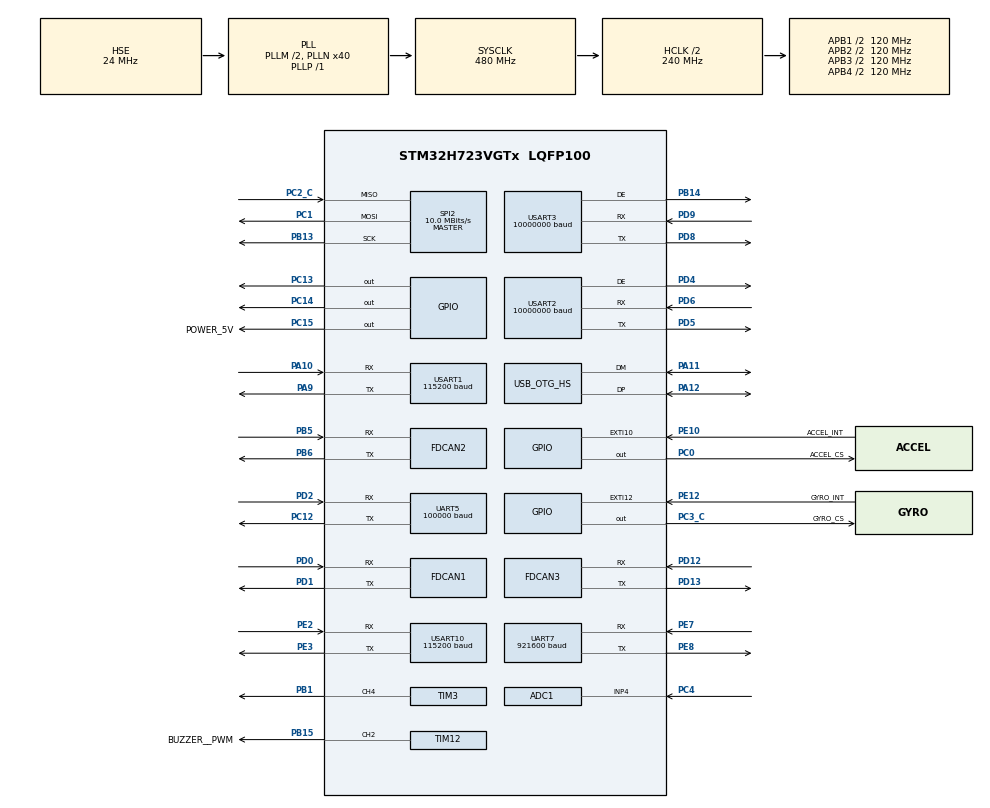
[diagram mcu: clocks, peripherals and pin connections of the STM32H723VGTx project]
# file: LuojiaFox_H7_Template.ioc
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ADC1.Channel-2\#ChannelRegularConversion=ADC_CHANNEL_4
ADC1.Channel-3\#ChannelRegularConversion=ADC_CHANNEL_4
ADC1.ClockPrescaler=ADC_CLOCK_ASYNC_DIV64
ADC1.ClockPrescalerADC3=ADC_CLOCK_SYNC_PCLK_DIV4
ADC1.ContinuousConvMode=ENABLE
ADC1.ConversionDataManagement=ADC_CONVERSIONDATA_DMA_CIRCULAR
ADC1.NbrOfConversion=2
ADC1.NbrOfConversionFlag=1
ADC1.OffsetNumber-2\#ChannelRegularConversion=ADC_OFFSET_NONE
ADC1.OffsetNumber-3\#ChannelRegularConversion=ADC_OFFSET_NONE
ADC1.OffsetSignedSaturation-2\#ChannelRegularConversion=DISABLE
ADC1.OffsetSignedSaturation-3\#ChannelRegularConversion=DISABLE
ADC1.Rank-2\#ChannelRegularConversion=1
ADC1.Rank-3\#ChannelRegularConversion=2
ADC1.SamplingTime-2\#ChannelRegularConversion=ADC_SAMPLETIME_32CYCLES_5
ADC1.SamplingTime-3\#ChannelRegularConversion=ADC_SAMPLETIME_1CYCLE_5
ADC1.master=1
ADC3.Channel-0\#ChannelRegularConversion=ADC_CHANNEL_TEMPSENSOR
ADC3.ClockPrescalerADC3=ADC_CLOCK_SYNC_PCLK_DIV4
ADC3.DiscontinuousConvMode=ENABLE
ADC3.NbrOfConversionFlag=1
ADC3.OffsetNumber-0\#ChannelRegularConversion=ADC_OFFSET_NONE
ADC3.OffsetSign-0\#ChannelRegularConversion=ADC3_OFFSET_SIGN_NEGATIVE
ADC3.Rank-0\#ChannelRegularConversion=1
ADC3.SamplingTime-0\#ChannelRegularConversion=ADC3_SAMPLETIME_2CYCLES_5
Bdma.ADC3.0.Direction=DMA_PERIPH_TO_MEMORY
Bdma.ADC3.0.EventEnable=DISABLE
Bdma.ADC3.0.Instance=BDMA_Channel0
Bdma.ADC3.0.MemDataAlignment=DMA_MDATAALIGN_HALFWORD
Bdma.ADC3.0.MemInc=DMA_MINC_ENABLE
Bdma.ADC3.0.Mode=DMA_CIRCULAR
Bdma.ADC3.0.PeriphDataAlignment=DMA_PDATAALIGN_HALFWORD
Bdma.ADC3.0.PeriphInc=DMA_PINC_DISABLE
Bdma.ADC3.0.Polarity=HAL_DMAMUX_REQ_GEN_RISING
Bdma.ADC3.0.Priority=DMA_PRIORITY_LOW
Bdma.ADC3.0.RequestNumber=1
Bdma.ADC3.0.SignalID=NONE
Bdma.ADC3.0.SyncEnable=DISABLE
Bdma.ADC3.0.SyncPolarity=HAL_DMAMUX_SYNC_NO_EVENT
Bdma.ADC3.0.SyncRequestNumber=1
Bdma.ADC3.0.SyncSignalID=NONE
Bdma.Request0=ADC3
Bdma.RequestsNb=1
CORTEX_M7.AccessPermission-Cortex_Memory_Protection_Unit_Region0_Settings=MPU_REGION_FULL_ACCESS
CORTEX_M7.AccessPermission_Spec=MPU_REGION_FULL_ACCESS
CORTEX_M7.BaseAddress-Cortex_Memory_Protection_Unit_Region0_Settings=0x24000000
CORTEX_M7.BaseAddress_Spec=0x24000000
CORTEX_M7.CPU_DCache=Enabled
CORTEX_M7.CPU_ICache=Enabled
CORTEX_M7.DisableExec_Spec=MPU_INSTRUCTION_ACCESS_ENABLE
CORTEX_M7.Enable-Cortex_Memory_Protection_Unit_Region0_Settings=MPU_REGION_ENABLE
CORTEX_M7.IsBufferable_Spec=MPU_ACCESS_NOT_BUFFERABLE
CORTEX_M7.IsCacheable_Spec=MPU_ACCESS_NOT_CACHEABLE
CORTEX_M7.IsShareable_Spec=MPU_ACCESS_NOT_SHAREABLE
CORTEX_M7.MPU_Control=MPU_HFNMI_PRIVDEF
CORTEX_M7.Size-Cortex_Memory_Protection_Unit_Region0_Settings=MPU_REGION_SIZE_512KB
CORTEX_M7.Size_Spec=MPU_REGION_SIZE_512KB
CORTEX_M7.SubRegionDisable_Spec=0x0
CORTEX_M7.TypeExtField-Cortex_Memory_Protection_Unit_Region0_Settings=MPU_TEX_LEVEL1
CORTEX_M7.TypeExtField_Spec=MPU_TEX_LEVEL1
CORTEX_M7.default_mode_Activation=1
Dma.ADC1.14.Direction=DMA_PERIPH_TO_MEMORY
Dma.ADC1.14.EventEnable=DISABLE
Dma.ADC1.14.FIFOMode=DMA_FIFOMODE_DISABLE
Dma.ADC1.14.Instance=DMA2_Stream6
Dma.ADC1.14.MemDataAlignment=DMA_MDATAALIGN_HALFWORD
Dma.ADC1.14.MemInc=DMA_MINC_ENABLE
Dma.ADC1.14.Mode=DMA_CIRCULAR
Dma.ADC1.14.PeriphDataAlignment=DMA_PDATAALIGN_HALFWORD
Dma.ADC1.14.PeriphInc=DMA_PINC_DISABLE
Dma.ADC1.14.Polarity=HAL_DMAMUX_REQ_GEN_RISING
Dma.ADC1.14.Priority=DMA_PRIORITY_LOW
Dma.ADC1.14.RequestNumber=1
Dma.ADC1.14.SignalID=NONE
Dma.ADC1.14.SyncEnable=DISABLE
Dma.ADC1.14.SyncPolarity=HAL_DMAMUX_SYNC_NO_EVENT
Dma.ADC1.14.SyncRequestNumber=1
Dma.ADC1.14.SyncSignalID=NONE
Dma.MEMTOMEM.11.Direction=DMA_MEMORY_TO_MEMORY
Dma.MEMTOMEM.11.EventEnable=DISABLE
Dma.MEMTOMEM.11.FIFOMode=DMA_FIFOMODE_ENABLE
Dma.MEMTOMEM.11.FIFOThreshold=DMA_FIFO_THRESHOLD_FULL
Dma.MEMTOMEM.11.Instance=DMA1_Stream0
Dma.MEMTOMEM.11.MemBurst=DMA_MBURST_SINGLE
Dma.MEMTOMEM.11.MemDataAlignment=DMA_MDATAALIGN_BYTE
Dma.MEMTOMEM.11.MemInc=DMA_MINC_ENABLE
Dma.MEMTOMEM.11.Mode=DMA_NORMAL
Dma.MEMTOMEM.11.PeriphBurst=DMA_PBURST_SINGLE
Dma.MEMTOMEM.11.PeriphDataAlignment=DMA_PDATAALIGN_BYTE
Dma.MEMTOMEM.11.PeriphInc=DMA_PINC_ENABLE
Dma.MEMTOMEM.11.Polarity=HAL_DMAMUX_REQ_GEN_RISING
Dma.MEMTOMEM.11.Priority=DMA_PRIORITY_LOW
Dma.MEMTOMEM.11.RequestNumber=1
Dma.MEMTOMEM.11.SignalID=NONE
Dma.MEMTOMEM.11.SyncEnable=DISABLE
Dma.MEMTOMEM.11.SyncPolarity=HAL_DMAMUX_SYNC_NO_EVENT
Dma.MEMTOMEM.11.SyncRequestNumber=1
Dma.MEMTOMEM.11.SyncSignalID=NONE
Dma.Request0=UART5_RX
Dma.Request1=SPI2_RX
Dma.Request10=USART3_TX
Dma.Request11=MEMTOMEM
Dma.Request12=USART10_RX
Dma.Request13=USART10_TX
Dma.Request14=ADC1
Dma.Request2=SPI2_TX
Dma.Request3=UART7_RX
Dma.Request4=UART7_TX
Dma.Request5=USART1_RX
Dma.Request6=USART1_TX
Dma.Request7=USART2_RX
Dma.Request8=USART2_TX
Dma.Request9=USART3_RX
Dma.SPI2_RX.1.Direction=DMA_PERIPH_TO_MEMORY
Dma.SPI2_RX.1.EventEnable=DISABLE
Dma.SPI2_RX.1.FIFOMode=DMA_FIFOMODE_DISABLE
Dma.SPI2_RX.1.Instance=DMA1_Stream1
Dma.SPI2_RX.1.MemDataAlignment=DMA_MDATAALIGN_BYTE
Dma.SPI2_RX.1.MemInc=DMA_MINC_ENABLE
Dma.SPI2_RX.1.Mode=DMA_NORMAL
Dma.SPI2_RX.1.PeriphDataAlignment=DMA_PDATAALIGN_BYTE
Dma.SPI2_RX.1.PeriphInc=DMA_PINC_DISABLE
Dma.SPI2_RX.1.Polarity=HAL_DMAMUX_REQ_GEN_RISING
Dma.SPI2_RX.1.Priority=DMA_PRIORITY_VERY_HIGH
Dma.SPI2_RX.1.RequestNumber=1
Dma.SPI2_RX.1.SignalID=NONE
Dma.SPI2_RX.1.SyncEnable=DISABLE
Dma.SPI2_RX.1.SyncPolarity=HAL_DMAMUX_SYNC_NO_EVENT
Dma.SPI2_RX.1.SyncRequestNumber=1
Dma.SPI2_RX.1.SyncSignalID=NONE
Dma.SPI2_TX.2.Direction=DMA_MEMORY_TO_PERIPH
Dma.SPI2_TX.2.EventEnable=DISABLE
Dma.SPI2_TX.2.FIFOMode=DMA_FIFOMODE_DISABLE
Dma.SPI2_TX.2.Instance=DMA1_Stream2
Dma.SPI2_TX.2.MemDataAlignment=DMA_MDATAALIGN_BYTE
Dma.SPI2_TX.2.MemInc=DMA_MINC_ENABLE
Dma.SPI2_TX.2.Mode=DMA_NORMAL
Dma.SPI2_TX.2.PeriphDataAlignment=DMA_PDATAALIGN_BYTE
Dma.SPI2_TX.2.PeriphInc=DMA_PINC_DISABLE
Dma.SPI2_TX.2.Polarity=HAL_DMAMUX_REQ_GEN_RISING
Dma.SPI2_TX.2.Priority=DMA_PRIORITY_MEDIUM
Dma.SPI2_TX.2.RequestNumber=1
Dma.SPI2_TX.2.SignalID=NONE
Dma.SPI2_TX.2.SyncEnable=DISABLE
Dma.SPI2_TX.2.SyncPolarity=HAL_DMAMUX_SYNC_NO_EVENT
Dma.SPI2_TX.2.SyncRequestNumber=1
Dma.SPI2_TX.2.SyncSignalID=NONE
Dma.UART5_RX.0.Direction=DMA_PERIPH_TO_MEMORY
Dma.UART5_RX.0.EventEnable=DISABLE
Dma.UART5_RX.0.FIFOMode=DMA_FIFOMODE_DISABLE
Dma.UART5_RX.0.Instance=DMA2_Stream3
Dma.UART5_RX.0.MemDataAlignment=DMA_MDATAALIGN_BYTE
Dma.UART5_RX.0.MemInc=DMA_MINC_ENABLE
Dma.UART5_RX.0.Mode=DMA_CIRCULAR
Dma.UART5_RX.0.PeriphDataAlignment=DMA_PDATAALIGN_BYTE
Dma.UART5_RX.0.PeriphInc=DMA_PINC_DISABLE
Dma.UART5_RX.0.Polarity=HAL_DMAMUX_REQ_GEN_RISING
Dma.UART5_RX.0.Priority=DMA_PRIORITY_VERY_HIGH
Dma.UART5_RX.0.RequestNumber=1
Dma.UART5_RX.0.SignalID=NONE
Dma.UART5_RX.0.SyncEnable=DISABLE
Dma.UART5_RX.0.SyncPolarity=HAL_DMAMUX_SYNC_NO_EVENT
Dma.UART5_RX.0.SyncRequestNumber=1
Dma.UART5_RX.0.SyncSignalID=NONE
Dma.UART7_RX.3.Direction=DMA_PERIPH_TO_MEMORY
Dma.UART7_RX.3.EventEnable=DISABLE
Dma.UART7_RX.3.FIFOMode=DMA_FIFOMODE_DISABLE
Dma.UART7_RX.3.Instance=DMA1_Stream3
Dma.UART7_RX.3.MemDataAlignment=DMA_MDATAALIGN_BYTE
Dma.UART7_RX.3.MemInc=DMA_MINC_ENABLE
Dma.UART7_RX.3.Mode=DMA_CIRCULAR
Dma.UART7_RX.3.PeriphDataAlignment=DMA_PDATAALIGN_BYTE
Dma.UART7_RX.3.PeriphInc=DMA_PINC_DISABLE
Dma.UART7_RX.3.Polarity=HAL_DMAMUX_REQ_GEN_RISING
Dma.UART7_RX.3.Priority=DMA_PRIORITY_LOW
Dma.UART7_RX.3.RequestNumber=1
Dma.UART7_RX.3.SignalID=NONE
Dma.UART7_RX.3.SyncEnable=DISABLE
Dma.UART7_RX.3.SyncPolarity=HAL_DMAMUX_SYNC_NO_EVENT
Dma.UART7_RX.3.SyncRequestNumber=1
Dma.UART7_RX.3.SyncSignalID=NONE
Dma.UART7_TX.4.Direction=DMA_MEMORY_TO_PERIPH
Dma.UART7_TX.4.EventEnable=DISABLE
Dma.UART7_TX.4.FIFOMode=DMA_FIFOMODE_DISABLE
Dma.UART7_TX.4.Instance=DMA1_Stream4
Dma.UART7_TX.4.MemDataAlignment=DMA_MDATAALIGN_BYTE
Dma.UART7_TX.4.MemInc=DMA_MINC_ENABLE
Dma.UART7_TX.4.Mode=DMA_NORMAL
Dma.UART7_TX.4.PeriphDataAlignment=DMA_PDATAALIGN_BYTE
Dma.UART7_TX.4.PeriphInc=DMA_PINC_DISABLE
Dma.UART7_TX.4.Polarity=HAL_DMAMUX_REQ_GEN_RISING
Dma.UART7_TX.4.Priority=DMA_PRIORITY_LOW
Dma.UART7_TX.4.RequestNumber=1
Dma.UART7_TX.4.SignalID=NONE
Dma.UART7_TX.4.SyncEnable=DISABLE
Dma.UART7_TX.4.SyncPolarity=HAL_DMAMUX_SYNC_NO_EVENT
Dma.UART7_TX.4.SyncRequestNumber=1
Dma.UART7_TX.4.SyncSignalID=NONE
Dma.USART10_RX.12.Direction=DMA_PERIPH_TO_MEMORY
Dma.USART10_RX.12.EventEnable=DISABLE
Dma.USART10_RX.12.FIFOMode=DMA_FIFOMODE_DISABLE
Dma.USART10_RX.12.Instance=DMA2_Stream4
Dma.USART10_RX.12.MemDataAlignment=DMA_MDATAALIGN_BYTE
Dma.USART10_RX.12.MemInc=DMA_MINC_ENABLE
Dma.USART10_RX.12.Mode=DMA_CIRCULAR
Dma.USART10_RX.12.PeriphDataAlignment=DMA_PDATAALIGN_BYTE
Dma.USART10_RX.12.PeriphInc=DMA_PINC_DISABLE
Dma.USART10_RX.12.Polarity=HAL_DMAMUX_REQ_GEN_RISING
Dma.USART10_RX.12.Priority=DMA_PRIORITY_VERY_HIGH
Dma.USART10_RX.12.RequestNumber=1
Dma.USART10_RX.12.SignalID=NONE
Dma.USART10_RX.12.SyncEnable=DISABLE
Dma.USART10_RX.12.SyncPolarity=HAL_DMAMUX_SYNC_NO_EVENT
Dma.USART10_RX.12.SyncRequestNumber=1
Dma.USART10_RX.12.SyncSignalID=NONE
Dma.USART10_TX.13.Direction=DMA_MEMORY_TO_PERIPH
Dma.USART10_TX.13.EventEnable=DISABLE
Dma.USART10_TX.13.FIFOMode=DMA_FIFOMODE_DISABLE
Dma.USART10_TX.13.Instance=DMA2_Stream5
Dma.USART10_TX.13.MemDataAlignment=DMA_MDATAALIGN_BYTE
Dma.USART10_TX.13.MemInc=DMA_MINC_ENABLE
Dma.USART10_TX.13.Mode=DMA_NORMAL
Dma.USART10_TX.13.PeriphDataAlignment=DMA_PDATAALIGN_BYTE
Dma.USART10_TX.13.PeriphInc=DMA_PINC_DISABLE
Dma.USART10_TX.13.Polarity=HAL_DMAMUX_REQ_GEN_RISING
Dma.USART10_TX.13.Priority=DMA_PRIORITY_VERY_HIGH
Dma.USART10_TX.13.RequestNumber=1
Dma.USART10_TX.13.SignalID=NONE
Dma.USART10_TX.13.SyncEnable=DISABLE
Dma.USART10_TX.13.SyncPolarity=HAL_DMAMUX_SYNC_NO_EVENT
Dma.USART10_TX.13.SyncRequestNumber=1
Dma.USART10_TX.13.SyncSignalID=NONE
Dma.USART1_RX.5.Direction=DMA_PERIPH_TO_MEMORY
Dma.USART1_RX.5.EventEnable=DISABLE
Dma.USART1_RX.5.FIFOMode=DMA_FIFOMODE_DISABLE
Dma.USART1_RX.5.Instance=DMA1_Stream5
Dma.USART1_RX.5.MemDataAlignment=DMA_MDATAALIGN_BYTE
Dma.USART1_RX.5.MemInc=DMA_MINC_ENABLE
Dma.USART1_RX.5.Mode=DMA_NORMAL
Dma.USART1_RX.5.PeriphDataAlignment=DMA_PDATAALIGN_BYTE
Dma.USART1_RX.5.PeriphInc=DMA_PINC_DISABLE
Dma.USART1_RX.5.Polarity=HAL_DMAMUX_REQ_GEN_RISING
Dma.USART1_RX.5.Priority=DMA_PRIORITY_VERY_HIGH
Dma.USART1_RX.5.RequestNumber=1
Dma.USART1_RX.5.SignalID=NONE
Dma.USART1_RX.5.SyncEnable=DISABLE
Dma.USART1_RX.5.SyncPolarity=HAL_DMAMUX_SYNC_NO_EVENT
Dma.USART1_RX.5.SyncRequestNumber=1
Dma.USART1_RX.5.SyncSignalID=NONE
Dma.USART1_TX.6.Direction=DMA_MEMORY_TO_PERIPH
Dma.USART1_TX.6.EventEnable=DISABLE
Dma.USART1_TX.6.FIFOMode=DMA_FIFOMODE_DISABLE
Dma.USART1_TX.6.Instance=DMA1_Stream6
Dma.USART1_TX.6.MemDataAlignment=DMA_MDATAALIGN_BYTE
Dma.USART1_TX.6.MemInc=DMA_MINC_ENABLE
Dma.USART1_TX.6.Mode=DMA_NORMAL
Dma.USART1_TX.6.PeriphDataAlignment=DMA_PDATAALIGN_BYTE
Dma.USART1_TX.6.PeriphInc=DMA_PINC_DISABLE
Dma.USART1_TX.6.Polarity=HAL_DMAMUX_REQ_GEN_RISING
Dma.USART1_TX.6.Priority=DMA_PRIORITY_VERY_HIGH
Dma.USART1_TX.6.RequestNumber=1
Dma.USART1_TX.6.SignalID=NONE
Dma.USART1_TX.6.SyncEnable=DISABLE
Dma.USART1_TX.6.SyncPolarity=HAL_DMAMUX_SYNC_NO_EVENT
Dma.USART1_TX.6.SyncRequestNumber=1
Dma.USART1_TX.6.SyncSignalID=NONE
Dma.USART2_RX.7.Direction=DMA_PERIPH_TO_MEMORY
Dma.USART2_RX.7.EventEnable=DISABLE
Dma.USART2_RX.7.FIFOMode=DMA_FIFOMODE_DISABLE
Dma.USART2_RX.7.Instance=DMA1_Stream7
Dma.USART2_RX.7.MemDataAlignment=DMA_MDATAALIGN_BYTE
Dma.USART2_RX.7.MemInc=DMA_MINC_ENABLE
Dma.USART2_RX.7.Mode=DMA_CIRCULAR
Dma.USART2_RX.7.PeriphDataAlignment=DMA_PDATAALIGN_BYTE
Dma.USART2_RX.7.PeriphInc=DMA_PINC_DISABLE
Dma.USART2_RX.7.Polarity=HAL_DMAMUX_REQ_GEN_RISING
Dma.USART2_RX.7.Priority=DMA_PRIORITY_MEDIUM
Dma.USART2_RX.7.RequestNumber=1
Dma.USART2_RX.7.SignalID=NONE
Dma.USART2_RX.7.SyncEnable=DISABLE
Dma.USART2_RX.7.SyncPolarity=HAL_DMAMUX_SYNC_NO_EVENT
Dma.USART2_RX.7.SyncRequestNumber=1
Dma.USART2_RX.7.SyncSignalID=NONE
Dma.USART2_TX.8.Direction=DMA_MEMORY_TO_PERIPH
Dma.USART2_TX.8.EventEnable=DISABLE
Dma.USART2_TX.8.FIFOMode=DMA_FIFOMODE_DISABLE
Dma.USART2_TX.8.Instance=DMA2_Stream0
Dma.USART2_TX.8.MemDataAlignment=DMA_MDATAALIGN_BYTE
Dma.USART2_TX.8.MemInc=DMA_MINC_ENABLE
Dma.USART2_TX.8.Mode=DMA_NORMAL
Dma.USART2_TX.8.PeriphDataAlignment=DMA_PDATAALIGN_BYTE
Dma.USART2_TX.8.PeriphInc=DMA_PINC_DISABLE
Dma.USART2_TX.8.Polarity=HAL_DMAMUX_REQ_GEN_RISING
Dma.USART2_TX.8.Priority=DMA_PRIORITY_MEDIUM
Dma.USART2_TX.8.RequestNumber=1
Dma.USART2_TX.8.SignalID=NONE
Dma.USART2_TX.8.SyncEnable=DISABLE
Dma.USART2_TX.8.SyncPolarity=HAL_DMAMUX_SYNC_NO_EVENT
Dma.USART2_TX.8.SyncRequestNumber=1
Dma.USART2_TX.8.SyncSignalID=NONE
Dma.USART3_RX.9.Direction=DMA_PERIPH_TO_MEMORY
Dma.USART3_RX.9.EventEnable=DISABLE
Dma.USART3_RX.9.FIFOMode=DMA_FIFOMODE_DISABLE
Dma.USART3_RX.9.Instance=DMA2_Stream1
Dma.USART3_RX.9.MemDataAlignment=DMA_MDATAALIGN_BYTE
Dma.USART3_RX.9.MemInc=DMA_MINC_ENABLE
Dma.USART3_RX.9.Mode=DMA_CIRCULAR
Dma.USART3_RX.9.PeriphDataAlignment=DMA_PDATAALIGN_BYTE
Dma.USART3_RX.9.PeriphInc=DMA_PINC_DISABLE
Dma.USART3_RX.9.Polarity=HAL_DMAMUX_REQ_GEN_RISING
Dma.USART3_RX.9.Priority=DMA_PRIORITY_MEDIUM
Dma.USART3_RX.9.RequestNumber=1
Dma.USART3_RX.9.SignalID=NONE
Dma.USART3_RX.9.SyncEnable=DISABLE
Dma.USART3_RX.9.SyncPolarity=HAL_DMAMUX_SYNC_NO_EVENT
Dma.USART3_RX.9.SyncRequestNumber=1
Dma.USART3_RX.9.SyncSignalID=NONE
Dma.USART3_TX.10.Direction=DMA_MEMORY_TO_PERIPH
Dma.USART3_TX.10.EventEnable=DISABLE
Dma.USART3_TX.10.FIFOMode=DMA_FIFOMODE_DISABLE
Dma.USART3_TX.10.Instance=DMA2_Stream2
Dma.USART3_TX.10.MemDataAlignment=DMA_MDATAALIGN_BYTE
Dma.USART3_TX.10.MemInc=DMA_MINC_ENABLE
Dma.USART3_TX.10.Mode=DMA_NORMAL
Dma.USART3_TX.10.PeriphDataAlignment=DMA_PDATAALIGN_BYTE
Dma.USART3_TX.10.PeriphInc=DMA_PINC_DISABLE
Dma.USART3_TX.10.Polarity=HAL_DMAMUX_REQ_GEN_RISING
Dma.USART3_TX.10.Priority=DMA_PRIORITY_MEDIUM
Dma.USART3_TX.10.RequestNumber=1
Dma.USART3_TX.10.SignalID=NONE
Dma.USART3_TX.10.SyncEnable=DISABLE
Dma.USART3_TX.10.SyncPolarity=HAL_DMAMUX_SYNC_NO_EVENT
Dma.USART3_TX.10.SyncRequestNumber=1
Dma.USART3_TX.10.SyncSignalID=NONE
FDCAN1.AutoRetransmission=DISABLE
FDCAN1.CalculateBaudRateNominal=1000000
FDCAN1.CalculateTimeBitNominal=1000
FDCAN1.CalculateTimeQuantumNominal=50.0
FDCAN1.ClockCalibrationCCU=DISABLE
FDCAN1.DataPrescaler=5
FDCAN1.DataSyncJumpWidth=5
FDCAN1.DataTimeSeg1=14
FDCAN1.DataTimeSeg2=5
FDCAN1.ExtFiltersNbr=0
FDCAN1.FrameFormat=FDCAN_FRAME_CLASSIC
FDCAN1.NominalPrescaler=5
FDCAN1.NominalSyncJumpWidth=5
FDCAN1.NominalTimeSeg1=14
FDCAN1.NominalTimeSeg2=5
FDCAN1.ProtocolException=ENABLE
FDCAN1.RxBufferSize=FDCAN_DATA_BYTES_8
FDCAN1.RxFifo0ElmtSize=FDCAN_DATA_BYTES_8
FDCAN1.RxFifo0ElmtsNbr=4
FDCAN1.RxFifo1ElmtSize=FDCAN_DATA_BYTES_8
FDCAN1.StdFiltersNbr=1
FDCAN1.TransmitPause=DISABLE
FDCAN1.TxElmtSize=FDCAN_DATA_BYTES_8
FDCAN1.TxFifoQueueElmtsNbr=4
FDCAN1.TxFifoQueueMode=FDCAN_TX_FIFO_OPERATION
FDCAN2.CalculateBaudRateNominal=1000000
FDCAN2.CalculateTimeBitNominal=1000
FDCAN2.CalculateTimeQuantumNominal=50.0
FDCAN2.DataPrescaler=5
FDCAN2.DataSyncJumpWidth=5
FDCAN2.DataTimeSeg1=14
FDCAN2.DataTimeSeg2=5
FDCAN2.FrameFormat=FDCAN_FRAME_CLASSIC
FDCAN2.MessageRAMOffset=853
FDCAN2.NominalPrescaler=5
FDCAN2.NominalSyncJumpWidth=5
FDCAN2.NominalTimeSeg1=14
FDCAN2.NominalTimeSeg2=5
FDCAN2.ProtocolException=ENABLE
FDCAN2.RxFifo0ElmtsNbr=4
FDCAN2.RxFifo1ElmtsNbr=8
FDCAN2.StdFiltersNbr=1
FDCAN2.TxFifoQueueElmtsNbr=4
FDCAN3.CalculateBaudRateNominal=1000000
FDCAN3.CalculateTimeBitNominal=1000
FDCAN3.CalculateTimeQuantumNominal=50.0
FDCAN3.DataPrescaler=1
FDCAN3.DataSyncJumpWidth=5
FDCAN3.DataTimeSeg1=14
FDCAN3.DataTimeSeg2=5
FDCAN3.FrameFormat=FDCAN_FRAME_FD_BRS
FDCAN3.MessageRAMOffset=1706
FDCAN3.NominalPrescaler=5
FDCAN3.NominalSyncJumpWidth=5
FDCAN3.NominalTimeSeg1=14
FDCAN3.NominalTimeSeg2=5
FDCAN3.ProtocolException=ENABLE
FDCAN3.RxFifo0ElmtsNbr=0
FDCAN3.RxFifo1ElmtSize=FDCAN_DATA_BYTES_64
FDCAN3.RxFifo1ElmtsNbr=4
FDCAN3.StdFiltersNbr=1
FDCAN3.TxElmtSize=FDCAN_DATA_BYTES_64
FDCAN3.TxFifoQueueElmtsNbr=4
FREERTOS.INCLUDE_vTaskDelayUntil=1
FREERTOS.Tasks01=Start_INS_Task,2,2048,INS_Task,As weak,NULL,Static,Start_INS_TaskBuffer,Start_INS_TaskControlBlock;Start_Control_Task,1,1024,Control_Task,As weak,NULL,Static,Start_Control_TaskBuffer,Start_Control_TaskControlBlock;Start_CAN_Task,0,1024,CAN_Task,As weak,NULL,Static,Start_CAN_TaskBuffer,Start_CAN_TaskControlBlock;Start_Detect_Task,-1,1024,Detect_Task,As weak,NULL,Static,Start_Detect_TaskBuffer,Start_Detect_TaskControlBlock;Start_MiniPC_Task,2,1024,MiniPC_Task,As weak,NULL,Static,Start_MiniPC_TaskBuffer,Start_MiniPC_TaskControlBlock;Start_Shoot_Task,1,1024,Shoot_Task,As weak,NULL,Static,Start_Shoot_TaskBuffer,Start_Shoot_TaskControlBlock
FREERTOS.configMAX_TASK_NAME_LEN=32
FREERTOS.configMINIMAL_STACK_SIZE=1024
FREERTOS.configQUEUE_REGISTRY_SIZE=8
FREERTOS.configUSE_TRACE_FACILITY=1
Mcu.Family=STM32H7
Mcu.Name=STM32H723VGTx
Mcu.Package=LQFP100
NVIC.BDMA_Channel0_IRQn=true\:5\:0\:false\:false\:true\:true\:false\:true\:true
NVIC.DMA1_Stream0_IRQn=true\:5\:0\:false\:false\:true\:true\:false\:true\:true
NVIC.DMA1_Stream1_IRQn=true\:5\:0\:false\:false\:true\:true\:false\:true\:true
NVIC.DMA1_Stream2_IRQn=true\:5\:0\:false\:false\:true\:true\:false\:true\:true
NVIC.DMA1_Stream3_IRQn=true\:5\:0\:false\:false\:true\:true\:false\:true\:true
NVIC.DMA1_Stream4_IRQn=true\:5\:0\:false\:false\:true\:true\:false\:true\:true
NVIC.DMA1_Stream5_IRQn=true\:5\:0\:false\:false\:true\:true\:false\:true\:true
NVIC.DMA1_Stream6_IRQn=true\:5\:0\:false\:false\:true\:true\:false\:true\:true
NVIC.DMA1_Stream7_IRQn=true\:5\:0\:false\:false\:true\:true\:false\:true\:true
NVIC.DMA2_Stream0_IRQn=true\:5\:0\:false\:false\:true\:true\:false\:true\:true
NVIC.DMA2_Stream1_IRQn=true\:5\:0\:false\:false\:true\:true\:false\:true\:true
NVIC.DMA2_Stream2_IRQn=true\:5\:0\:false\:false\:true\:true\:false\:true\:true
NVIC.DMA2_Stream3_IRQn=true\:5\:0\:false\:false\:true\:true\:false\:true\:true
NVIC.DMA2_Stream4_IRQn=true\:5\:0\:false\:false\:true\:true\:false\:true\:true
NVIC.DMA2_Stream5_IRQn=true\:5\:0\:false\:false\:true\:true\:false\:true\:true
NVIC.DMA2_Stream6_IRQn=true\:5\:0\:false\:false\:true\:true\:false\:true\:true
NVIC.FDCAN1_IT0_IRQn=true\:5\:0\:false\:false\:true\:true\:true\:true\:true
NVIC.FDCAN2_IT0_IRQn=true\:5\:0\:false\:false\:true\:true\:true\:true\:true
NVIC.FDCAN3_IT0_IRQn=true\:5\:0\:false\:false\:true\:true\:true\:true\:true
NVIC.FDCAN3_IT1_IRQn=true\:5\:0\:false\:false\:true\:true\:true\:true\:true
NVIC.OTG_HS_IRQn=true\:5\:0\:false\:false\:true\:true\:true\:true\:true
NVIC.PriorityGroup=NVIC_PRIORITYGROUP_4
NVIC.SPI2_IRQn=true\:5\:0\:true\:false\:true\:true\:false\:true\:true
NVIC.TIM2_IRQn=true\:15\:0\:false\:false\:true\:false\:false\:true\:true
NVIC.TimeBase=TIM2_IRQn
NVIC.TimeBaseIP=TIM2
NVIC.UART5_IRQn=true\:5\:0\:false\:false\:true\:true\:true\:true\:true
NVIC.UART7_IRQn=true\:5\:0\:false\:false\:true\:true\:true\:true\:true
NVIC.USART10_IRQn=true\:5\:0\:false\:false\:true\:true\:true\:true\:true
NVIC.USART1_IRQn=true\:5\:0\:false\:false\:true\:true\:true\:true\:true
NVIC.USART2_IRQn=true\:5\:0\:false\:false\:true\:true\:true\:true\:true
NVIC.USART3_IRQn=true\:5\:0\:false\:false\:true\:true\:true\:true\:true
PA10.Mode=Asynchronous
PA10.Signal=USART1_RX
PA11.Mode=Device_Only_FS
PA11.Signal=USB_OTG_HS_DM
PA12.Mode=Device_Only_FS
PA12.Signal=USB_OTG_HS_DP
PA13(JTMS/SWDIO).Mode=Serial_Wire
PA13(JTMS/SWDIO).Signal=DEBUG_JTMS-SWDIO
PA14(JTCK/SWCLK).Mode=Serial_Wire
PA14(JTCK/SWCLK).Signal=DEBUG_JTCK-SWCLK
PA9.Mode=Asynchronous
PA9.Signal=USART1_TX
PB1.Signal=S_TIM3_CH4
PB13.GPIO_Speed=GPIO_SPEED_FREQ_VERY_HIGH
PB13.Mode=Full_Duplex_Master
PB13.Signal=SPI2_SCK
PB14.Mode=Hardware Flow Control (RS485)
PB14.Signal=USART3_DE
PB15.GPIO_Label=BUZZER__PWM
PB15.Signal=S_TIM12_CH2
PB5.Mode=FDCAN_Activate
PB5.Signal=FDCAN2_RX
PB6.GPIO_FM6=__NULL
PB6.Mode=FDCAN_Activate
PB6.Signal=FDCAN2_TX
PC0.GPIO_Label=ACCEL_CS
PC0.GPIO_PuPd=GPIO_NOPULL
PC0.GPIO_Speed=GPIO_SPEED_FREQ_MEDIUM
PC0.PinState=GPIO_PIN_SET
PC0.Signal=GPIO_Output
PC1.GPIO_Speed=GPIO_SPEED_FREQ_VERY_HIGH
PC1.Mode=Full_Duplex_Master
PC1.Signal=SPI2_MOSI
PC12.Mode=Asynchronous
PC12.Signal=UART5_TX
PC13.PinState=GPIO_PIN_SET
PC13.Signal=GPIO_Output
PC14-OSC32_IN.PinState=GPIO_PIN_SET
PC14-OSC32_IN.Signal=GPIO_Output
PC15-OSC32_OUT.GPIO_Label=POWER_5V
PC15-OSC32_OUT.PinState=GPIO_PIN_SET
PC15-OSC32_OUT.Signal=GPIO_Output
PC2_C.GPIO_Speed=GPIO_SPEED_FREQ_VERY_HIGH
PC2_C.Mode=Full_Duplex_Master
PC2_C.Signal=SPI2_MISO
PC3_C.GPIO_Label=GYRO_CS
PC3_C.GPIO_PuPd=GPIO_NOPULL
PC3_C.GPIO_Speed=GPIO_SPEED_FREQ_MEDIUM
PC3_C.PinState=GPIO_PIN_SET
PC3_C.Signal=GPIO_Output
PC4.Signal=ADCx_INP4
PD0.Mode=FDCAN_Activate
PD0.Signal=FDCAN1_RX
PD1.Mode=FDCAN_Activate
PD1.Signal=FDCAN1_TX
PD12.Mode=FDCAN_Activate
PD12.Signal=FDCAN3_RX
PD13.Mode=FDCAN_Activate
PD13.Signal=FDCAN3_TX
PD2.GPIO_Speed=GPIO_SPEED_FREQ_VERY_HIGH
PD2.Mode=Asynchronous
PD2.Signal=UART5_RX
PD4.Mode=Hardware Flow Control (RS485)
PD4.Signal=USART2_DE
PD5.Mode=Asynchronous
PD5.Signal=USART2_TX
PD6.Mode=Asynchronous
PD6.Signal=USART2_RX
PD8.Mode=Asynchronous
PD8.Signal=USART3_TX
PD9.Mode=Asynchronous
PD9.Signal=USART3_RX
PE10.GPIO_Label=ACCEL_INT
PE10.GPIO_PuPd=GPIO_NOPULL
PE10.Signal=GPXTI10
PE12.GPIO_Label=GYRO_INT
PE12.GPIO_PuPd=GPIO_NOPULL
PE12.Signal=GPXTI12
PE2.Mode=Asynchronous
PE2.Signal=USART10_RX
PE3.Mode=Asynchronous
PE3.Signal=USART10_TX
PE7.Mode=Asynchronous
PE7.Signal=UART7_RX
PE8.Mode=Asynchronous
PE8.Signal=UART7_TX
PH0-OSC_IN.Mode=HSE-External-Oscillator
PH0-OSC_IN.Signal=RCC_OSC_IN
PH1-OSC_OUT.Mode=HSE-External-Oscillator
PH1-OSC_OUT.Signal=RCC_OSC_OUT
ProjectManager.HeapSize=0x2000
ProjectManager.StackSize=0x4000
ProjectManager.TargetToolchain=Makefile
RCC.ADCFreq_Value=100000000
RCC.APB1Freq_Value=120000000
RCC.APB2Freq_Value=120000000
RCC.APB3Freq_Value=120000000
RCC.APB4Freq_Value=120000000
RCC.CKPERSourceSelection=RCC_CLKPSOURCE_HSE
RCC.CortexFreq_Value=480000000
RCC.D1PPRE=RCC_APB3_DIV2
RCC.D2PPRE1=RCC_APB1_DIV2
RCC.D2PPRE2=RCC_APB2_DIV2
RCC.D3PPRE=RCC_APB4_DIV2
RCC.DIVM1=2
RCC.DIVM2=12
RCC.DIVM3=24
RCC.DIVN1=40
RCC.DIVN2=100
RCC.DIVN3=160
RCC.DIVP1=1
RCC.DIVQ1=4
RCC.EnableHSERTCDevisor-ClockTree=true
RCC.EnbaleCSS=false
RCC.FDCANCLockSelection=RCC_FDCANCLKSOURCE_PLL2
RCC.FLatency-AdvancedSettings=FLASH_LATENCY_3
RCC.FMCEnable-ClockTree=true
RCC.HCLKFreq_Value=240000000
RCC.HPRE=RCC_HCLK_DIV2
RCC.HSE_VALUE=24000000
RCC.MCO1OutPutEnable-ClockTree=true
RCC.PLL1_VCI_Range-AdvancedSettings=RCC_PLL1VCIRANGE_0
RCC.PLL1_VCO_SEL-AdvancedSettings=RCC_PLL1VCOMEDIUM
RCC.PLL2FRACN=0
RCC.PLL2_VCO_SEL-AdvancedSettings=RCC_PLL2VCOWIDE
RCC.PLL3FRACN=0
RCC.PLL3_VCO_SEL-AdvancedSettings=RCC_PLL3VCOWIDE
RCC.PLLFRACN=0
RCC.PLLSourceVirtual=RCC_PLLSOURCE_HSE
RCC.SAI1Enable-ClockTree=true
RCC.SPI123CLockSelection=RCC_SPI123CLKSOURCE_PLL3
RCC.SYSCLKFreq_VALUE=480000000
RCC.SYSCLKSource=RCC_SYSCLKSOURCE_PLLCLK
RCC.USBCLockSelection=RCC_USBCLKSOURCE_HSI48
RCC.USBFreq_Value=48000000
SH.ADCx_INP4.0=ADC1_INP4,IN4-Single-Ended
SH.S_TIM3_CH4.0=TIM3_CH4,PWM Generation4 CH4
SH.S_TIM12_CH2.0=TIM12_CH2,PWM Generation2 CH2
SPI2.BaudRatePrescaler=SPI_BAUDRATEPRESCALER_8
SPI2.CLKPhase=SPI_PHASE_2EDGE
SPI2.CLKPolarity=SPI_POLARITY_HIGH
SPI2.CalculateBaudRate=10.0 MBits/s
SPI2.DataSize=SPI_DATASIZE_8BIT
SPI2.Direction=SPI_DIRECTION_2LINES
SPI2.Mode=SPI_MODE_MASTER
SPI2.NSSPMode=SPI_NSS_PULSE_DISABLE
SPI2.VirtualType=VM_MASTER
STMicroelectronics.X-CUBE-ALGOBUILD.1.4.0.LibraryCcDSPOoLibraryJjDSPOoLibrary=true
TIM12.AutoReloadPreload=TIM_AUTORELOAD_PRELOAD_ENABLE
TIM12.Channel-PWM\ Generation2\ CH2=TIM_CHANNEL_2
TIM12.OC2Preload_PWM=DISABLE
TIM12.Period=499
TIM12.Prescaler=240-1
TIM3.AutoReloadPreload=TIM_AUTORELOAD_PRELOAD_ENABLE
TIM3.Channel-PWM\ Generation4\ CH4=TIM_CHANNEL_4
TIM3.Period=20000
TIM3.Prescaler=80-1
UART5.BaudRate=100000
UART5.Parity=PARITY_EVEN
UART5.StopBits=UART_STOPBITS_2
UART5.WordLength=WORDLENGTH_9B
UART7.BaudRate=921600
USART1.BaudRate=115200
USART1.VirtualMode-Asynchronous=VM_ASYNC
USART10.BaudRate=115200
USART10.VirtualMode=VM_ASYNC
USART2.BaudRate=10000000
USART2.OverSampling=UART_OVERSAMPLING_8
USART2.VirtualMode-Asynchronous=VM_ASYNC
USART2.VirtualMode-Hardware\ Flow\ Control\ (RS485)=VM_ASYNC
USART3.BaudRate=10000000
USART3.OverSampling=UART_OVERSAMPLING_8
USART3.VirtualMode-Asynchronous=VM_ASYNC
USART3.VirtualMode-Hardware\ Flow\ Control\ (RS485)=VM_ASYNC
USB_DEVICE.CLASS_NAME_HS=CDC
USB_DEVICE.VirtualMode=Cdc
USB_DEVICE.VirtualModeHS=Cdc_HS
USB_OTG_HS.VirtualMode-Device_Only_FS=Device_Only_FS
VP_ADC3_TempSens_Input.Mode=IN-TempSens
VP_ADC3_Vbat_Input.Mode=IN-Vbat
VP_ADC3_Vref_Input.Mode=IN-Vrefint
VP_FREERTOS_VS_CMSIS_V1.Mode=CMSIS_V1
VP_MEMORYMAP_VS_MEMORYMAP.Mode=CurAppReg
VP_STMicroelectronics.X-CUBE-ALGOBUILD_VS_DSPOoLibraryJjLibrary_1.4.0_1.4.0.Mode=DSPOoLibraryJjLibrary
VP_SYS_VS_tim2.Mode=TIM2
VP_USB_DEVICE_VS_USB_DEVICE_CDC_HS.Mode=CDC_HS
board=custom

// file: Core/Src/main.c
/* USER CODE BEGIN Header */
/**
  ******************************************************************************
  * @file           : main.c
  * @brief          : Main program body
  ******************************************************************************
  * @attention
  *
  * Copyright (c) 2026 STMicroelectronics.
  * All rights reserved.
  *
  * This software is licensed under terms that can be found in the LICENSE file
  * in the root directory of this software component.
  * If no LICENSE file comes with this software, it is provided AS-IS.
  *
  ******************************************************************************
  */
/* USER CODE END Header */
#include "main.h"
#include "cmsis_os.h"
#include "adc.h"
#include "bdma.h"
#include "dma.h"
#include "fdcan.h"
#include "spi.h"
#include "tim.h"
#include "usart.h"
#include "usb_device.h"
#include "gpio.h"
/* USER CODE BEGIN Includes */
#include "bsp_can.h"
#include "dvc_bsp.h"
#if BOARD_ROLE == 1
#include "app_chassis.h"
#endif
#include "remote_control.h"
/* USER CODE END Includes */

void SystemClock_Config(void);
void PeriphCommonClock_Config(void);
static void MPU_Config(void);
void MX_FREERTOS_Init(void);

int main(void)

{

  /* MPU Configuration--------------------------------------------------------*/
  MPU_Config();

  /* Enable the CPU Cache */

  /* Enable I-Cache---------------------------------------------------------*/
  SCB_EnableICache();

  /* Enable D-Cache---------------------------------------------------------*/
  SCB_EnableDCache();

  /* MCU Configuration--------------------------------------------------------*/

  /* Reset of all peripherals, Initializes the Flash interface and the Systick. */
  HAL_Init();

  /* Configure the system clock */
  SystemClock_Config();

  /* Configure the peripherals common clocks */
  PeriphCommonClock_Config();

  /* Initialize all configured peripherals */
  MX_GPIO_Init();
  MX_DMA_Init();
  MX_BDMA_Init();
  MX_FDCAN1_Init();
  MX_FDCAN2_Init();
  MX_UART5_Init();
  MX_SPI2_Init();
  MX_TIM3_Init();
#if BOARD_ROLE == 1
  MX_TIM12_Init();
#endif
  MX_UART7_Init();
  MX_USART1_UART_Init();
  MX_USART2_UART_Init();
  MX_USART3_UART_Init();
  MX_USART10_UART_Init();
  MX_FDCAN3_Init();
  MX_ADC3_Init();
  MX_ADC1_Init();
  /* USER CODE BEGIN 2 */
  bspInit();
  HAL_TIM_PWM_Start(&htim3, TIM_CHANNEL_4);
  remoteControlInit();

  /* 启动三路 FDCAN；底盘/云台/发射模块随后自行注册电机 */
  bspFdcanInit();

#if BOARD_ROLE == 1
  Chassis_Init();
#endif
  /* USER CODE END 2 */

  /* Call init function for freertos objects (in cmsis_os2.c) */
  MX_FREERTOS_Init();

  /* Start scheduler */
  osKernelStart();

  /* We should never get here as control is now taken by the scheduler */
  /* Infinite loop */
  while (1)
  {

  }
}

void SystemClock_Config(void)
{
  RCC_OscInitTypeDef RCC_OscInitStruct = {0};
  RCC_ClkInitTypeDef RCC_ClkInitStruct = {0};

  /** Supply configuration update enable
  */
  HAL_PWREx_ConfigSupply(PWR_LDO_SUPPLY);

  /** Configure the main internal regulator output voltage
  */
  __HAL_PWR_VOLTAGESCALING_CONFIG(PWR_REGULATOR_VOLTAGE_SCALE0);

  while(!__HAL_PWR_GET_FLAG(PWR_FLAG_VOSRDY)) {}

  /** Initializes the RCC Oscillators according to the specified parameters
  * in the RCC_OscInitTypeDef structure.
  */
  RCC_OscInitStruct.OscillatorType = RCC_OSCILLATORTYPE_HSI48|RCC_OSCILLATORTYPE_HSE;
  RCC_OscInitStruct.HSEState = RCC_HSE_ON;
  RCC_OscInitStruct.HSI48State = RCC_HSI48_ON;
  RCC_OscInitStruct.PLL.PLLState = RCC_PLL_ON;
  RCC_OscInitStruct.PLL.PLLSource = RCC_PLLSOURCE_HSE;
  RCC_OscInitStruct.PLL.PLLM = 2;
  RCC_OscInitStruct.PLL.PLLN = 40;
  RCC_OscInitStruct.PLL.PLLP = 1;
  RCC_OscInitStruct.PLL.PLLQ = 4;
  RCC_OscInitStruct.PLL.PLLR = 2;
  RCC_OscInitStruct.PLL.PLLRGE = RCC_PLL1VCIRANGE_3;
  RCC_OscInitStruct.PLL.PLLVCOSEL = RCC_PLL1VCOWIDE;
  RCC_OscInitStruct.PLL.PLLFRACN = 0;
  if (HAL_RCC_OscConfig(&RCC_OscInitStruct) != HAL_OK)
  {
    Error_Handler();
  }

  /** Initializes the CPU, AHB and APB buses clocks
  */
  RCC_ClkInitStruct.ClockType = RCC_CLOCKTYPE_HCLK|RCC_CLOCKTYPE_SYSCLK
                              |RCC_CLOCKTYPE_PCLK1|RCC_CLOCKTYPE_PCLK2
                              |RCC_CLOCKTYPE_D3PCLK1|RCC_CLOCKTYPE_D1PCLK1;
  RCC_ClkInitStruct.SYSCLKSource = RCC_SYSCLKSOURCE_PLLCLK;
  RCC_ClkInitStruct.SYSCLKDivider = RCC_SYSCLK_DIV1;
  RCC_ClkInitStruct.AHBCLKDivider = RCC_HCLK_DIV2;
  RCC_ClkInitStruct.APB3CLKDivider = RCC_APB3_DIV2;
  RCC_ClkInitStruct.APB1CLKDivider = RCC_APB1_DIV2;
  RCC_ClkInitStruct.APB2CLKDivider = RCC_APB2_DIV2;
  RCC_ClkInitStruct.APB4CLKDivider = RCC_APB4_DIV2;

  if (HAL_RCC_ClockConfig(&RCC_ClkInitStruct, FLASH_LATENCY_3) != HAL_OK)
  {
    Error_Handler();
  }
}

void PeriphCommonClock_Config(void)
{
  RCC_PeriphCLKInitTypeDef PeriphClkInitStruct = {0};

  /** Initializes the peripherals clock
  */
  PeriphClkInitStruct.PeriphClockSelection = RCC_PERIPHCLK_ADC|RCC_PERIPHCLK_FDCAN;
  PeriphClkInitStruct.PLL2.PLL2M = 12;
  PeriphClkInitStruct.PLL2.PLL2N = 100;
  PeriphClkInitStruct.PLL2.PLL2P = 2;
  PeriphClkInitStruct.PLL2.PLL2Q = 2;
  PeriphClkInitStruct.PLL2.PLL2R = 2;
  PeriphClkInitStruct.PLL2.PLL2RGE = RCC_PLL2VCIRANGE_1;
  PeriphClkInitStruct.PLL2.PLL2VCOSEL = RCC_PLL2VCOWIDE;
  PeriphClkInitStruct.PLL2.PLL2FRACN = 0;
  PeriphClkInitStruct.FdcanClockSelection = RCC_FDCANCLKSOURCE_PLL2;
  PeriphClkInitStruct.AdcClockSelection = RCC_ADCCLKSOURCE_PLL2;
  if (HAL_RCCEx_PeriphCLKConfig(&PeriphClkInitStruct) != HAL_OK)
  {
    Error_Handler();
  }
}

 /* MPU Configuration */

void MPU_Config(void)
{
  MPU_Region_InitTypeDef MPU_InitStruct = {0};

  /* Disables the MPU */
  HAL_MPU_Disable();

  /** Initializes and configures the Region and the memory to be protected
  */
  MPU_InitStruct.Enable = MPU_REGION_ENABLE;
  MPU_InitStruct.Number = MPU_REGION_NUMBER0;
  MPU_InitStruct.BaseAddress = 0x24000000;
  MPU_InitStruct.Size = MPU_REGION_SIZE_512KB;
  MPU_InitStruct.SubRegionDisable = 0x0;
  MPU_InitStruct.TypeExtField = MPU_TEX_LEVEL1;
  MPU_InitStruct.AccessPermission = MPU_REGION_FULL_ACCESS;
  MPU_InitStruct.DisableExec = MPU_INSTRUCTION_ACCESS_ENABLE;
  MPU_InitStruct.IsShareable = MPU_ACCESS_NOT_SHAREABLE;
  MPU_InitStruct.IsCacheable = MPU_ACCESS_NOT_CACHEABLE;
  MPU_InitStruct.IsBufferable = MPU_ACCESS_NOT_BUFFERABLE;

  HAL_MPU_ConfigRegion(&MPU_InitStruct);
  /* Enables the MPU */
  HAL_MPU_Enable(MPU_HFNMI_PRIVDEF);

}

void HAL_TIM_PeriodElapsedCallback(TIM_HandleTypeDef *htim)
{
  if (htim->Instance == TIM2)
  {
    HAL_IncTick();
  }
}

void Error_Handler(void)
{
  __disable_irq();
  while (1)
  {
  }
}

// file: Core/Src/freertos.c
/* USER CODE BEGIN Header */
/**
  ******************************************************************************
  * File Name          : freertos.c
  * Description        : Code for freertos applications
  ******************************************************************************
  * @attention
  *
  * Copyright (c) 2026 STMicroelectronics.
  * All rights reserved.
  *
  * This software is licensed under terms that can be found in the LICENSE file
  * in the root directory of this software component.
  * If no LICENSE file comes with this software, it is provided AS-IS.
  *
  ******************************************************************************
  */
/* USER CODE END Header */

#include "FreeRTOS.h"
#include "task.h"
#include "main.h"
#include "cmsis_os.h"

/* USER CODE BEGIN Includes */
#include "app_ins.h"
#include "app_supercap.h"
/* USER CODE END Includes */

/* USER CODE BEGIN Variables */
osThreadId userTaskHandle;
osThreadId insTaskHandle;
uint32_t BoardLink_TaskBuffer[512];
osStaticThreadDef_t BoardLink_TaskControlBlock;
osThreadId BoardLink_TaskHandle;
osThreadId superpower_handle;
uint32_t SUPERPOWER_TaskBuffer[256];
osStaticThreadDef_t SUPERPOWER_TaskControlBlock;
/* USER CODE END Variables */
osThreadId Start_INS_TaskHandle;
uint32_t Start_INS_TaskBuffer[ 2048 ];
osStaticThreadDef_t Start_INS_TaskControlBlock;
osThreadId Start_Control_TaskHandle;
uint32_t Start_Control_TaskBuffer[ 1024 ];
osStaticThreadDef_t Start_Control_TaskControlBlock;
osThreadId Start_Detect_TaskHandle;
uint32_t Start_Detect_TaskBuffer[ 1024 ];
osStaticThreadDef_t Start_Detect_TaskControlBlock;
osThreadId Start_MiniPC_TaskHandle;
uint32_t Start_MiniPC_TaskBuffer[ 1024 ];
osStaticThreadDef_t Start_MiniPC_TaskControlBlock;
osThreadId Start_Shoot_TaskHandle;
uint32_t Start_Shoot_TaskBuffer[ 1024 ];
osStaticThreadDef_t Start_Shoot_TaskControlBlock;
uint32_t REFEREE_TaskBuffer[512];
osStaticThreadDef_t REFEREE_TaskControlBlock;
osThreadId referee_usart_task_handle;

uint32_t USB_TaskBuffer[1024];
osStaticThreadDef_t USB_TaskControlBlock;
osThreadId usb_task_handle;

/* USER CODE BEGIN FunctionPrototypes */
void BoardLink_Task(void const * argument);
/* USER CODE END FunctionPrototypes */

void INS_Task(void const * argument);
void Control_Task(void const * argument);
void Detect_Task(void const * argument);
void MiniPC_Task(void const * argument);
void Shoot_Task(void const * argument);
void referee_task(void const * argument);
void usb_task(void const * argument);

extern void MX_USB_DEVICE_Init(void);
void MX_FREERTOS_Init(void); /* (MISRA C 2004 rule 8.1) */

/* GetIdleTaskMemory prototype (linked to static allocation support) */
void vApplicationGetIdleTaskMemory( StaticTask_t **ppxIdleTaskTCBBuffer, StackType_t **ppxIdleTaskStackBuffer, uint32_t *pulIdleTaskStackSize );

/* USER CODE BEGIN GET_IDLE_TASK_MEMORY */
static StaticTask_t xIdleTaskTCBBuffer;
static StackType_t xIdleStack[configMINIMAL_STACK_SIZE];

void vApplicationGetIdleTaskMemory( StaticTask_t **ppxIdleTaskTCBBuffer, StackType_t **ppxIdleTaskStackBuffer, uint32_t *pulIdleTaskStackSize )
{
  *ppxIdleTaskTCBBuffer = &xIdleTaskTCBBuffer;
  *ppxIdleTaskStackBuffer = &xIdleStack[0];
  *pulIdleTaskStackSize = configMINIMAL_STACK_SIZE;
  /* place for user code */
}
/* USER CODE END GET_IDLE_TASK_MEMORY */

void MX_FREERTOS_Init(void) {

  /* Create the thread(s) */
  /* definition and creation of Start_INS_Task */
  osThreadStaticDef(Start_INS_Task, INS_Task, osPriorityHigh, 0, 2048, Start_INS_TaskBuffer, &Start_INS_TaskControlBlock);
  Start_INS_TaskHandle = osThreadCreate(osThread(Start_INS_Task), NULL);

  /* definition and creation of Start_Control_Task */
  osThreadStaticDef(Start_Control_Task, Control_Task, osPriorityAboveNormal, 0, 1024, Start_Control_TaskBuffer, &Start_Control_TaskControlBlock);
  Start_Control_TaskHandle = osThreadCreate(osThread(Start_Control_Task), NULL);

  /* definition and creation of Start_Detect_Task */
  osThreadStaticDef(Start_Detect_Task, Detect_Task, osPriorityBelowNormal, 0, 1024, Start_Detect_TaskBuffer, &Start_Detect_TaskControlBlock);
  Start_Detect_TaskHandle = osThreadCreate(osThread(Start_Detect_Task), NULL);

  /* definition and creation of Start_MiniPC_Task */
  osThreadStaticDef(Start_MiniPC_Task, MiniPC_Task, osPriorityHigh, 0, 1024, Start_MiniPC_TaskBuffer, &Start_MiniPC_TaskControlBlock);
  Start_MiniPC_TaskHandle = osThreadCreate(osThread(Start_MiniPC_Task), NULL);

  /* definition and creation of Start_Shoot_Task */
  osThreadStaticDef(Start_Shoot_Task, Shoot_Task, osPriorityAboveNormal, 0, 1024, Start_Shoot_TaskBuffer, &Start_Shoot_TaskControlBlock);
  Start_Shoot_TaskHandle = osThreadCreate(osThread(Start_Shoot_Task), NULL);

  /* USER CODE BEGIN RTOS_THREADS */
  /* 超电使用工程自身 CAN/裁判接口；反馈 ID 未配置时不创建任务。 */
  if (supercapInit()) {
    osThreadStaticDef(SUPERPOWER, superpower_task, osPriorityAboveNormal, 0, 256,
                      SUPERPOWER_TaskBuffer, &SUPERPOWER_TaskControlBlock);
    superpower_handle = osThreadCreate(osThread(SUPERPOWER), NULL);
    if (superpower_handle == NULL) {
      Error_Handler();
    }
  }
  /* 静态任务声明 */
  osThreadStaticDef(REFEREE, referee_task, osPriorityNormal, 0, 512, REFEREE_TaskBuffer, &REFEREE_TaskControlBlock);
  referee_usart_task_handle = osThreadCreate(osThread(REFEREE), NULL);

  osThreadStaticDef(USB, usb_task, osPriorityNormal, 0, 1024, USB_TaskBuffer, &USB_TaskControlBlock);
  usb_task_handle = osThreadCreate(osThread(USB), NULL);

  osThreadStaticDef(BoardLink, BoardLink_Task, osPriorityAboveNormal, 0, 512, BoardLink_TaskBuffer, &BoardLink_TaskControlBlock);
  BoardLink_TaskHandle = osThreadCreate(osThread(BoardLink), NULL);
   /* add threads, ... */
  /* USER CODE END RTOS_THREADS */
}

__weak void INS_Task(void const * argument)
{
  /* init code for USB_DEVICE */
  MX_USB_DEVICE_Init();
  for(;;)
  {
    osDelay(1);
  }
}

__weak void Control_Task(void const * argument)
{
  for(;;)
  {
    osDelay(1);
  }
}

__weak void Detect_Task(void const * argument)
{
  for(;;)
  {
    osDelay(1);
  }
}

__weak void MiniPC_Task(void const * argument)
{
  for(;;)
  {
    osDelay(1);
  }
}

__weak void Shoot_Task(void const * argument)
{
  for(;;)
  {
    osDelay(1);
  }
}
